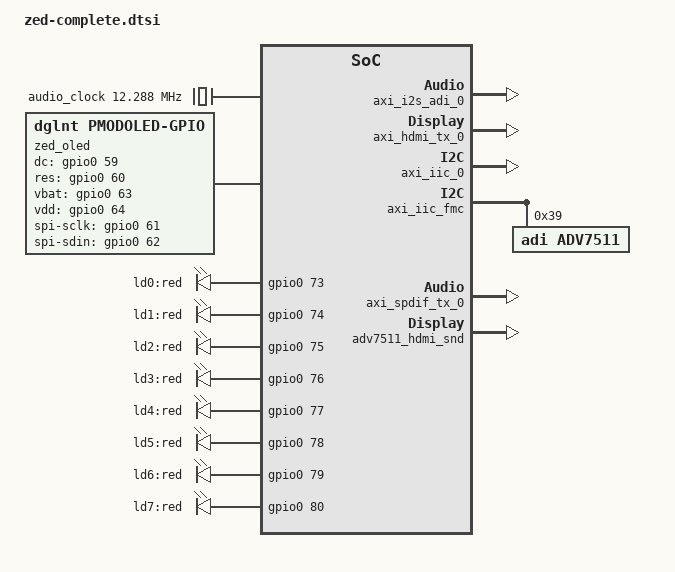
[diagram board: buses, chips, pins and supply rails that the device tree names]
&amba {
		axi_i2s_adi_0: axi_i2s_adi@43c20000 {
			compatible = "adi,axi-i2s-1.00.a";
			reg = <0x43c20000 0x10000>;
			dmas = <&dmac_s 0 &dmac_s 1>;
			dma-names = "tx", "rx";
			clocks = <&clkc 15>, <&audio_clock>, <&audio_clock>;
			clock-names = "axi", "ref", "i2s";
		};
		axi_clkgen_0: axi_clkgen@43c40000 {
			compatible = "adi,axi-clkgen-2.00.a";
			reg = <0x43c40000 0x10000>;
			#clock-cells = <0>;
			clocks = <&clkc 16>;
		};
		axi_hdmi_dma: dma@43000000 {
		    compatible = "xlnx,axi-vdma-1.00.a";
		    #address-cells = <0x1>;
		    #size-cells = <0x1>;
		    #dma-cells = <0x1>;
		    #dma-channels = <0x1>;
		    reg = <0x43000000 0x10000>;
		    xlnx,num-fstores = <0x3>;
		    interrupt-parent = <&intc>;
		    interrupts = <0 31 4>;

		    dma-channel@43000000 {
			    compatible = "xlnx,axi-vdma-mm2s-channel";
			    interrupts = <0x0 31 0x4>;
			    xlnx,datawidth = <0x40>;
			    xlnx,genlock-mode = <0x0>;
			    xlnx,include-dre = <0x0>;
		    };
		};
		axi_hdmi_tx_0: axi_hdmi_tx@43c30000 {
			compatible = "adi,axi-hdmi-tx-1.00.a";
			reg = <0x43c30000 0x10000>;
			encoder-slave = <&adv7511>;
			dmas = <&axi_hdmi_dma 0>;
			dma-names = "video";
			clocks = <&axi_clkgen_0>;
		};
		axi_iic_0: i2c@41610000 {
			compatible = "xlnx,axi-iic-1.01.b", "xlnx,xps-iic-2.00.a";
			interrupt-parent = <&intc>;
			interrupts = <0 33 4>;
			#address-cells = <1>;
			#size-cells = <0>;
			reg = <0x41610000 0x10000>;
		};
		axi_iic_fmc: i2c@41600000 {
		    compatible = "xlnx,axi-iic-1.01.b", "xlnx,xps-iic-2.00.a";
		    interrupt-parent = <&intc>;
		    interrupts = <0x0 32 0x4>;
		    reg = <0x41600000 0x10000>;
		    #size-cells = <0x0>;
		    #address-cells = <0x1>;

		    adv7511: adv7511@39 {
			    compatible = "adi,adv7511";
			    reg = <0x39>;
			    adi,input-style = <0x2>;
			    adi,input-depth = <0x8>;
			    adi,input-colorspace = "yuv422";
			    adi,input-justification = "right";
			    adi,up-conversion = <0x0>;
			    adi,clock-delay = <0x3>;
			    adi,input-clock = "1x";
		    };
	    };

		axi_spdif_tx_0: axi_spdif_tx@60000000 {
			compatible = "adi,axi-spdif-tx-1.00.a";
			reg = <0x60000000 0x10000>;
			dmas = <&dmac_s 2>;
			dma-names = "tx";
			clocks = <&clkc 15>, <&audio_clock>, <&audio_clock>;
			clock-names = "axi", "ref", "spdif";
		};

		adv7511_hdmi_snd: adv7511_hdmi_snd {
			compatible = "adv7511-hdmi-snd";
			audio-codec = <&adv7511>;
			cpu-dai = <&axi_spdif_tx_0>;
		};

		audio_clock: audio_clock {
			compatible = "fixed-clock";
			#clock-cells = <0>;
			clock-frequency = <12288000>;
		}; 

		vga_enh_top_0: vga_enh_top@43c00000 {
			compatible = "opencores,ocfb-edl";
			reg = <0x43c00000 0x10000>;
		};

    zed_oled {
        compatible = "dglnt,pmodoled-gpio";
        
        dc-gpio = <&gpio0 59 0>;
        res-gpio = <&gpio0 60 0>;
        vbat-gpio = <&gpio0 63 0>;
        vdd-gpio = <&gpio0 64 0>;
        spi-bus-num = <2>;
        
        spi-sclk-gpio = <&gpio0 61 0>;
        spi-sdin-gpio = <&gpio0 62 0>;
    };

	leds {
		compatible = "gpio-leds";
		ld0 {
			label = "ld0:red";
			gpios = <&gpio0 73 0>;
		};

		ld1 {
			label = "ld1:red";
			gpios = <&gpio0 74 0>;
		};

		ld2 { 
			label = "ld2:red";
			gpios = <&gpio0 75 0>;
		};

		ld3 {
			label = "ld3:red";
			gpios = <&gpio0 76 0>;
		};

		ld4 {
			label = "ld4:red";
			gpios = <&gpio0 77 0>;
		};

		ld5 {
			label = "ld5:red";
			gpios = <&gpio0 78 0>;
		};

		ld6 {
			label = "ld6:red";
			gpios = <&gpio0 79 0>;
		};

		ld7 {
			label = "ld7:red";
			gpios = <&gpio0 80 0>;
		};
	};

};
